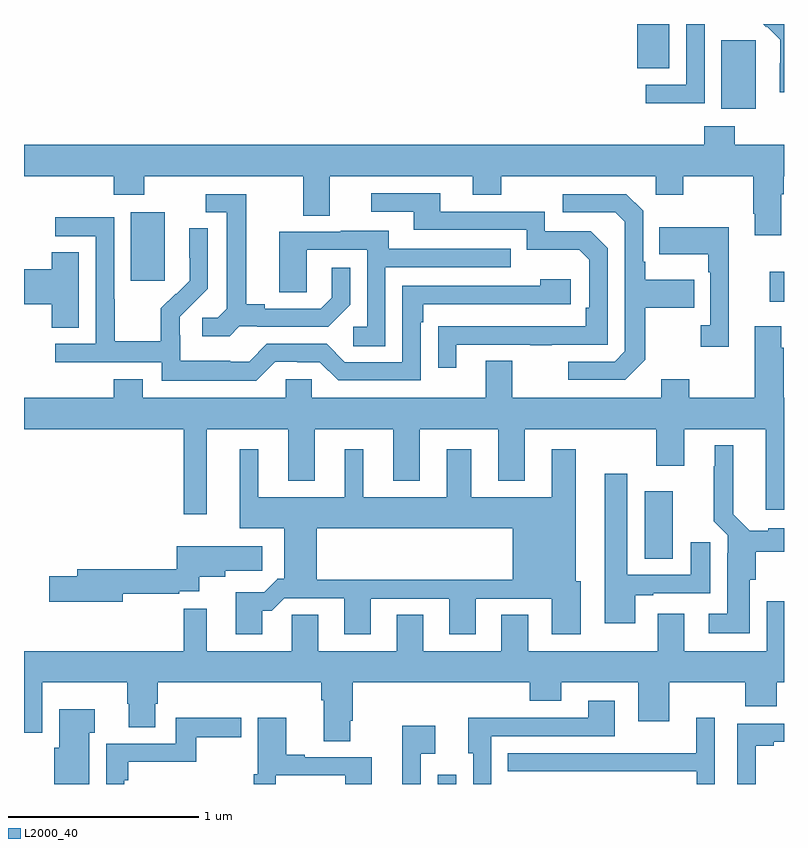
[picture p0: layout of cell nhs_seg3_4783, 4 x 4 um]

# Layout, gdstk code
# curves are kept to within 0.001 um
import gdstk
lib = gdstk.Library(unit=1e-6, precision=1e-09)
def R(c, l, rs):  # rectangles x0, y0, x1, y1
    for r in rs: c.add(gdstk.rectangle(r[:2], r[2:], *l))
def P(c, l, *ps):  # polygons
    for p in ps: c.add(gdstk.Polygon(p, *l))
L2000_40 = (2000, 40)

nhs_seg3_4783 = lib.new_cell('nhs_seg3_4783')
R(nhs_seg3_4783, L2000_40, [(371.178,680.4,371.274,680.449), (372.266,681.586,372.415,681.94), (372.924,682.937,373,683.095), (369.563,683.049,369.742,683.41), (372.671,683.954,372.85,684.315), (372.227,684.166,372.397,684.4)])
P(nhs_seg3_4783, L2000_40, [(372.582,684.4),(372.486,684.4),(372.486,684.081),(372.273,684.081),(372.273,683.983),(372.582,683.983)],
  [(373,684.4),(372.89,684.4),(372.906,684.384),(372.909,684.387),(372.98,684.317),(372.98,684.194),(372.978,684.194),(372.978,684.04),(373,684.04)],
  [(372.985,683.504),(372.998,683.504),(372.998,683.6),(373,683.6),(373,683.764),(372.741,683.764),(372.741,683.863),(372.581,683.863),(372.581,683.764),(369,683.764),(369,683.6),(369.473,683.6),(369.473,683.501),(369.633,683.501),(369.633,683.6),(370.469,683.6),(370.469,683.392),(370.609,683.392),(370.609,683.6),(371.363,683.6),(371.363,683.501),(371.511,683.501),(371.511,683.6),(372.324,683.6),(372.324,683.501),(372.471,683.501),(372.471,683.6),(372.838,683.6),(372.838,683.401),(372.845,683.401),(372.845,683.289),(372.985,683.289)],
  [(371.275,682.713),(371.665,682.713),(371.665,682.708),(371.777,682.708),(371.777,682.713),(372.072,682.713),(372.072,683.22),(371.982,683.31),(371.742,683.31),(371.742,683.412),(371.191,683.412),(371.191,683.508),(370.827,683.508),(370.827,683.412),(371.051,683.412),(371.051,683.316),(371.646,683.316),(371.646,683.213),(371.923,683.213),(371.976,683.16),(371.976,682.906),(371.956,682.906),(371.956,682.809),(371.179,682.808),(371.179,682.59),(371.275,682.59)],
  [(372.271,682.633),(372.271,682.906),(372.527,682.906),(372.527,683.053),(372.271,683.053),(372.271,683.149),(372.258,683.149),(372.258,683.418),(372.171,683.505),(371.835,683.505),(371.835,683.409),(372.111,683.409),(372.162,683.358),(372.162,682.677),(372.108,682.623),(371.865,682.623),(371.865,682.527),(372.165,682.527)],
  [(370.134,682.809),(370.228,682.809),(370.228,682.806),(370.6,682.806),(370.716,682.922),(370.716,683.116),(370.619,683.116),(370.619,682.959),(370.562,682.902),(370.267,682.902),(370.267,682.925),(370.171,682.925),(370.171,683.505),(369.957,683.505),(369.957,683.409),(370.067,683.409),(370.067,682.901),(370.02,682.854),(369.939,682.854),(369.939,682.757),(370.082,682.757)],
  [(370.323,682.623),(370.439,682.623),(370.439,682.62),(370.557,682.62),(370.653,682.524),(371.088,682.524),(371.088,682.829),(371.101,682.829),(371.101,682.926),(371.878,682.926),(371.878,683.056),(371.717,683.056),(371.717,683.022),(370.992,683.022),(370.992,682.62),(370.689,682.62),(370.593,682.716),(370.278,682.716),(370.185,682.623),(370.085,682.623),(370.085,682.627),(369.822,682.627),(369.822,682.761),(369.82,682.761),(369.82,682.858),(369.966,683.006),(369.966,683.324),(369.87,683.324),(369.87,683.17),(369.872,683.17),(369.872,683.048),(369.801,682.977),(369.798,682.98),(369.721,682.903),(369.721,682.729),(369.477,682.729),(369.477,682.952),(369.474,682.952),(369.474,683.382),(369.165,683.382),(369.165,683.283),(369.378,683.283),(369.378,682.716),(369.165,682.716),(369.165,682.62),(369.726,682.62),(369.726,682.523),(370.223,682.523)],
  [(372.71,683.329),(372.343,683.329),(372.343,683.189),(372.6,683.189),(372.6,683.093),(372.612,683.093),(372.612,682.814),(372.561,682.814),(372.561,682.701),(372.71,682.701)],
  [(370.902,683.121),(371.561,683.121),(371.561,683.217),(370.921,683.217),(370.921,683.311),(370.667,683.311),(370.667,683.307),(370.343,683.307),(370.343,682.987),(370.488,682.987),(370.488,683.211),(370.806,683.211),(370.806,682.806),(370.734,682.806),(370.734,682.705),(370.902,682.705)],
  [(369.289,683.198),(369.146,683.198),(369.146,683.108),(369,683.108),(369,682.925),(369.146,682.925),(369.146,682.801),(369.289,682.801)],
  [(369.961,682.268),(370.391,682.268),(370.391,681.995),(370.531,681.995),(370.531,682.268),(370.943,682.268),(370.943,681.995),(371.083,681.995),(371.083,682.268),(371.495,682.268),(371.495,681.995),(371.635,681.995),(371.635,682.268),(372.328,682.268),(372.328,682.074),(372.475,682.074),(372.475,682.268),(372.905,682.268),(372.905,681.843),(373,681.843),(373,682.432),(372.998,682.432),(372.998,682.697),(372.985,682.697),(372.985,682.81),(372.845,682.81),(372.845,682.432),(372.501,682.432),(372.501,682.531),(372.353,682.531),(372.353,682.432),(371.569,682.432),(371.569,682.627),(371.429,682.627),(371.429,682.432),(370.515,682.432),(370.515,682.53),(370.377,682.53),(370.377,682.432),(369.625,682.432),(369.625,682.531),(369.473,682.531),(369.473,682.432),(369,682.432),(369,682.268),(369.84,682.268),(369.84,681.819),(369.961,681.819)],
  [(372.82,681.474),(372.851,681.474),(372.851,681.623),(373,681.623),(373,681.745),(372.918,681.745),(372.918,681.733),(372.819,681.733),(372.733,681.82),(372.733,682.183),(372.635,682.183),(372.635,682.073),(372.631,682.073),(372.631,681.782),(372.705,681.708),(372.705,681.614),(372.701,681.614),(372.701,681.295),(372.603,681.295),(372.603,681.194),(372.82,681.194)],
  [(370.115,681.409),(370.115,681.189),(370.255,681.189),(370.255,681.311),(370.304,681.311),(370.371,681.378),(370.685,681.378),(370.685,681.189),(370.825,681.189),(370.825,681.375),(371.237,681.375),(371.237,681.189),(371.377,681.189),(371.377,681.375),(371.777,681.375),(371.777,681.189),(371.929,681.189),(371.929,681.468),(371.905,681.468),(371.905,682.162),(371.777,682.162),(371.777,681.91),(371.353,681.91),(371.353,682.162),(371.225,682.162),(371.225,681.91),(370.786,681.91),(370.786,682.162),(370.688,682.162),(370.688,681.91),(370.234,681.91),(370.234,682.162),(370.136,682.162),(370.136,681.746),(370.37,681.746),(370.37,681.479),(370.334,681.479),(370.331,681.476),(370.541,681.476),(370.541,681.746),(371.573,681.746),(371.573,681.476),(370.331,681.476),(370.264,681.409)],
  [(372.217,681.393),(372.313,681.393),(372.313,681.405),(372.613,681.405),(372.613,681.673),(372.509,681.673),(372.509,681.501),(372.175,681.501),(372.175,682.033),(372.056,682.033),(372.056,681.246),(372.217,681.246)],
  [(369.52,681.402),(369.818,681.402),(369.818,681.414),(369.923,681.414),(369.923,681.491),(370.06,681.491),(370.06,681.523),(370.255,681.523),(370.255,681.652),(369.805,681.652),(369.805,681.53),(369.281,681.53),(369.281,681.494),(369.132,681.494),(369.132,681.359),(369.52,681.359)],
  [(370.717,680.734),(370.73,680.734),(370.73,680.936),(371.663,680.936),(371.663,680.837),(371.827,680.837),(371.827,680.936),(372.233,680.936),(372.233,680.73),(372.397,680.73),(372.397,680.936),(372.797,680.936),(372.797,680.808),(372.961,680.808),(372.961,680.936),(373,680.936),(373,681.361),(372.909,681.361),(372.909,681.1),(372.475,681.1),(372.475,681.295),(372.335,681.295),(372.335,681.1),(371.653,681.1),(371.653,681.29),(371.513,681.29),(371.513,681.1),(371.101,681.1),(371.101,681.29),(370.961,681.29),(370.961,681.1),(370.549,681.1),(370.549,681.29),(370.41,681.29),(370.41,681.1),(369.961,681.1),(369.961,681.322),(369.84,681.322),(369.84,681.1),(369,681.1),(369,680.67),(369.097,680.67),(369.097,680.936),(369.544,680.936),(369.544,680.823),(369.551,680.823),(369.551,680.698),(369.691,680.698),(369.691,680.823),(369.704,680.823),(369.704,680.936),(370.565,680.936),(370.565,680.84),(370.577,680.84),(370.577,680.626),(370.717,680.626)],
  [(371.46,680.652),(372.109,680.652),(372.109,680.839),(371.969,680.839),(371.969,680.748),(371.557,680.748),(371.557,680.75),(371.339,680.75),(371.339,680.562),(371.364,680.562),(371.364,680.4),(371.46,680.4)],
  [(369.343,680.669),(369.373,680.669),(369.373,680.794),(369.185,680.794),(369.185,680.592),(369.158,680.592),(369.158,680.4),(369.343,680.4)],
  [(369.528,680.42),(369.548,680.42),(369.548,680.516),(369.907,680.516),(369.907,680.647),(370.144,680.647),(370.144,680.75),(369.798,680.75),(369.798,680.613),(369.432,680.613),(369.432,680.4),(369.528,680.4)],
  [(372.636,680.749),(372.539,680.749),(372.539,680.563),(372.205,680.563),(372.205,680.562),(371.545,680.562),(371.545,680.466),(372.54,680.466),(372.54,680.4),(372.636,680.4)],
  [(370.326,680.445),(370.691,680.445),(370.691,680.4),(370.831,680.4),(370.831,680.541),(370.477,680.541),(370.477,680.554),(370.381,680.554),(370.381,680.749),(370.23,680.749),(370.23,680.452),(370.21,680.452),(370.21,680.4),(370.326,680.4)],
  [(372.85,680.602),(372.946,680.602),(372.946,680.622),(373,680.622),(373,680.718),(372.753,680.718),(372.753,680.4),(372.85,680.4)],
  [(371.088,680.558),(371.164,680.558),(371.164,680.707),(370.991,680.707),(370.991,680.4),(371.088,680.4)])

lib.write_gds('nhs_seg3_4783.gds')
